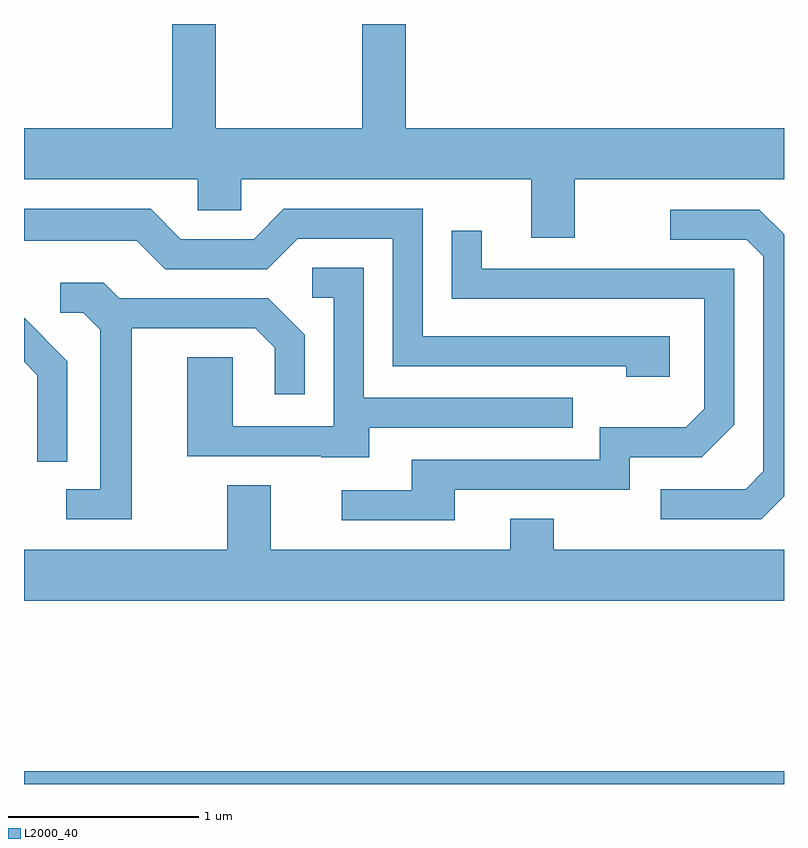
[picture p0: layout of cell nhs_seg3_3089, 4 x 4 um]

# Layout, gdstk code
import gdstk
lib = gdstk.Library(unit=1e-6, precision=1e-09)
def R(c, l, rs):  # rectangles x0, y0, x1, y1
    for r in rs: c.add(gdstk.rectangle(r[:2], r[2:], *l))
def P(c, l, *ps):  # polygons
    for p in ps: c.add(gdstk.Polygon(p, *l))
L2000_40 = (2000, 40)

nhs_seg3_3089 = lib.new_cell('nhs_seg3_3089')
R(nhs_seg3_3089, L2000_40, [(275.611,1173.892,279.611,1173.959)])
P(nhs_seg3_3089, L2000_40, [(278.509,1177.076),(279.611,1177.076),(279.611,1177.344),(277.619,1177.344),(277.619,1177.892),(277.391,1177.892),(277.391,1177.344),(276.619,1177.344),(276.619,1177.892),(276.391,1177.892),(276.391,1177.344),(275.611,1177.344),(275.611,1177.076),(276.526,1177.076),(276.526,1176.911),(276.754,1176.911),(276.754,1177.076),(278.281,1177.076),(278.281,1176.766),(278.509,1176.766)],
  [(279.009,1176.249),(277.709,1176.249),(277.709,1176.919),(276.979,1176.919),(276.819,1176.759),(276.437,1176.759),(276.277,1176.919),(275.611,1176.919),(275.611,1176.751),(276.204,1176.751),(276.354,1176.601),(276.892,1176.601),(277.052,1176.761),(277.551,1176.761),(277.551,1176.091),(278.781,1176.091),(278.781,1176.036),(279.009,1176.036)],
  [(279.611,1175.406),(279.611,1176.785),(279.482,1176.914),(279.013,1176.914),(279.013,1176.756),(279.414,1176.756),(279.501,1176.669),(279.501,1175.537),(279.409,1175.444),(278.963,1175.444),(278.963,1175.286),(279.492,1175.286)],
  [(277.879,1175.441),(278.799,1175.441),(278.799,1175.611),(279.177,1175.611),(279.349,1175.784),(279.349,1176.604),(278.019,1176.604),(278.019,1176.803),(277.861,1176.803),(277.861,1176.446),(279.191,1176.446),(279.191,1175.867),(279.094,1175.769),(278.641,1175.769),(278.641,1175.599),(277.651,1175.599),(277.651,1175.439),(277.283,1175.439),(277.283,1175.281),(277.879,1175.281)],
  [(277.429,1175.766),(278.498,1175.766),(278.498,1175.924),(277.399,1175.924),(277.399,1176.609),(277.128,1176.609),(277.128,1176.451),(277.241,1176.451),(277.241,1175.774),(276.709,1175.774),(276.709,1176.139),(276.471,1176.139),(276.471,1175.616),(277.175,1175.616),(277.175,1175.611),(277.429,1175.611)],
  [(276.179,1176.291),(276.829,1176.291),(276.931,1176.189),(276.931,1175.943),(277.089,1175.943),(277.089,1176.257),(276.897,1176.449),(276.112,1176.449),(276.032,1176.529),(275.803,1176.529),(275.803,1176.371),(275.924,1176.371),(276.011,1176.284),(276.011,1175.444),(275.833,1175.444),(275.833,1175.286),(276.179,1175.286)],
  [(275.839,1176.117),(275.611,1176.345),(275.611,1176.114),(275.681,1176.044),(275.681,1175.588),(275.839,1175.588)],
  [(279.611,1175.124),(278.399,1175.124),(278.399,1175.289),(278.171,1175.289),(278.171,1175.124),(276.909,1175.124),(276.909,1175.464),(276.681,1175.464),(276.681,1175.124),(275.611,1175.124),(275.611,1174.856),(279.611,1174.856)])

lib.write_gds('nhs_seg3_3089.gds')
